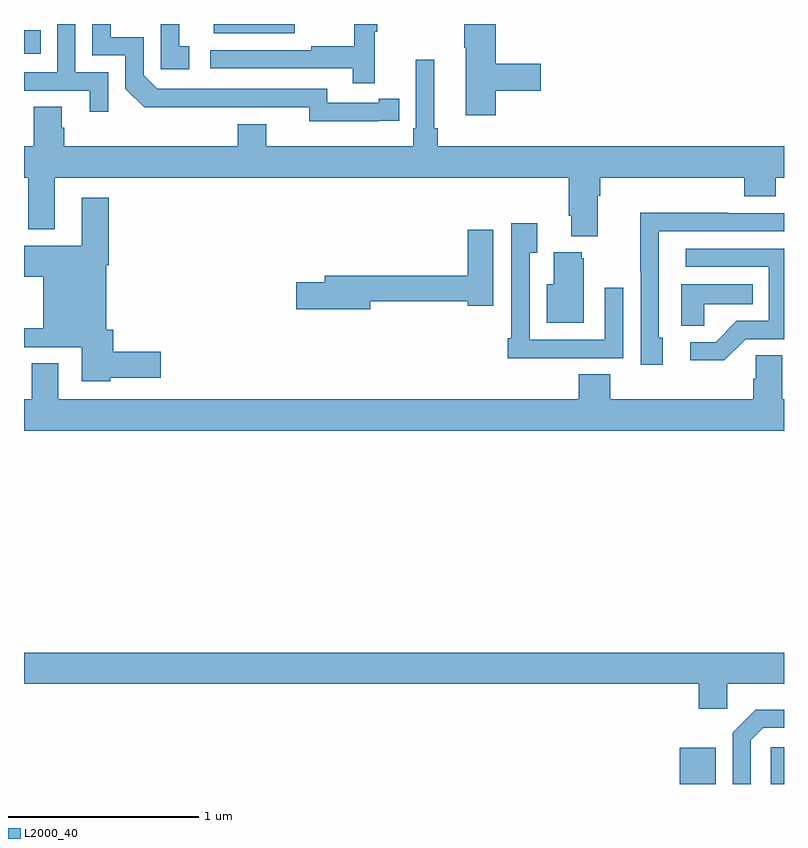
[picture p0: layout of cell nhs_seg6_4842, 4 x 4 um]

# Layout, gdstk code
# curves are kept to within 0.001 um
import gdstk
lib = gdstk.Library(unit=1e-6, precision=1e-09)
def R(c, l, rs):  # rectangles x0, y0, x1, y1
    for r in rs: c.add(gdstk.rectangle(r[:2], r[2:], *l))
def P(c, l, *ps):  # polygons
    for p in ps: c.add(gdstk.Polygon(p, *l))
L2000_40 = (2000, 40)

nhs_seg6_4842 = lib.new_cell('nhs_seg6_4842')
R(nhs_seg6_4842, L2000_40, [(402.452,921.5,402.64,921.691), (402.93,921.5,403,921.693), (399,925.344,399.089,925.467), (399.998,925.451,400.426,925.5)])
P(nhs_seg6_4842, L2000_40, [(399.444,925.245),(399.27,925.245),(399.27,925.5),(399.174,925.5),(399.174,925.245),(399,925.245),(399,925.149),(399.347,925.149),(399.347,925.038),(399.444,925.038)],
  [(400.868,924.99),(400.976,924.99),(400.976,925.106),(400.868,925.106),(400.868,925.086),(400.596,925.086),(400.596,925.158),(399.702,925.158),(399.63,925.23),(399.63,925.431),(399.457,925.431),(399.457,925.5),(399.36,925.5),(399.36,925.335),(399.534,925.335),(399.534,925.158),(399.632,925.061),(400.5,925.062),(400.5,924.989)],
  [(401.483,925.15),(401.719,925.15),(401.719,925.292),(401.483,925.292),(401.483,925.5),(401.317,925.5),(401.317,925.375),(401.324,925.375),(401.324,925.02),(401.483,925.02)],
  [(399.871,925.383),(399.818,925.383),(399.818,925.5),(399.72,925.5),(399.72,925.263),(399.871,925.263)],
  [(400.847,925.459),(400.858,925.459),(400.858,925.5),(400.737,925.5),(400.737,925.382),(400.513,925.382),(400.513,925.362),(399.981,925.362),(399.981,925.266),(400.729,925.266),(400.729,925.188),(400.847,925.188)],
  [(402.019,924.596),(402.032,924.596),(402.032,924.692),(402.791,924.692),(402.791,924.593),(402.956,924.593),(402.956,924.692),(403,924.692),(403,924.856),(401.177,924.856),(401.177,924.952),(401.158,924.952),(401.158,925.312),(401.061,925.312),(401.061,924.952),(401.048,924.952),(401.048,924.856),(400.276,924.856),(400.276,924.973),(400.124,924.973),(400.124,924.856),(399.212,924.856),(399.212,924.954),(399.199,924.954),(399.199,925.064),(399.052,925.064),(399.052,924.856),(399,924.856),(399,924.692),(399.023,924.692),(399.023,924.419),(399.163,924.419),(399.163,924.692),(401.867,924.692),(401.867,924.49),(401.879,924.49),(401.879,924.383),(402.019,924.383)],
  [(399.453,923.639),(399.721,923.639),(399.721,923.774),(399.47,923.774),(399.47,923.892),(399.433,923.892),(399.433,924.23),(399.446,924.23),(399.446,924.586),(399.305,924.586),(399.305,924.334),(399,924.334),(399,924.17),(399.101,924.17),(399.101,923.9),(399,923.9),(399,923.799),(399.305,923.799),(399.305,923.621),(399.453,923.621)],
  [(402.361,923.85),(402.342,923.85),(402.342,924.408),(403,924.408),(403,924.504),(402.707,924.504),(402.707,924.506),(402.244,924.506),(402.244,924.199),(402.246,924.199),(402.246,923.706),(402.361,923.706)],
  [(401.837,923.742),(402.153,923.742),(402.153,924.112),(402.057,924.112),(402.057,923.838),(401.661,923.838),(401.661,924.295),(401.701,924.295),(401.701,924.451),(401.565,924.451),(401.565,923.845),(401.545,923.845),(401.545,923.741),(401.837,923.741)],
  [(400.822,924.04),(401.336,924.04),(401.336,924.017),(401.47,924.017),(401.47,924.418),(401.336,924.418),(401.336,924.176),(400.583,924.176),(400.583,924.14),(400.434,924.14),(400.434,923.998),(400.822,923.998)],
  [(402.798,923.841),(403,923.841),(403,924.318),(402.483,924.318),(402.483,924.222),(402.921,924.222),(402.921,923.937),(402.752,923.937),(402.641,923.826),(402.507,923.826),(402.507,923.729),(402.685,923.729)],
  [(401.947,924.267),(401.936,924.267),(401.936,924.298),(401.789,924.298),(401.789,924.13),(401.75,924.13),(401.75,923.927),(401.947,923.927)],
  [(402.579,924.026),(402.836,924.026),(402.836,924.13),(402.458,924.13),(402.458,923.911),(402.579,923.911)],
  [(401.921,923.657),(401.921,923.524),(399.181,923.524),(399.181,923.714),(399.041,923.714),(399.041,923.524),(399,923.524),(399,923.36),(403,923.36),(403,923.524),(402.991,923.524),(402.991,923.756),(402.852,923.756),(402.852,923.633),(402.839,923.633),(402.839,923.524),(402.086,923.524),(402.086,923.657)],
  [(402.702,922.028),(403,922.028),(403,922.192),(399,922.192),(399,922.028),(402.551,922.028),(402.551,921.897),(402.702,921.897)],
  [(402.825,921.729),(402.891,921.795),(403,921.795),(403,921.892),(402.85,921.892),(402.729,921.771),(402.729,921.5),(402.825,921.5)])

lib.write_gds('nhs_seg6_4842.gds')
